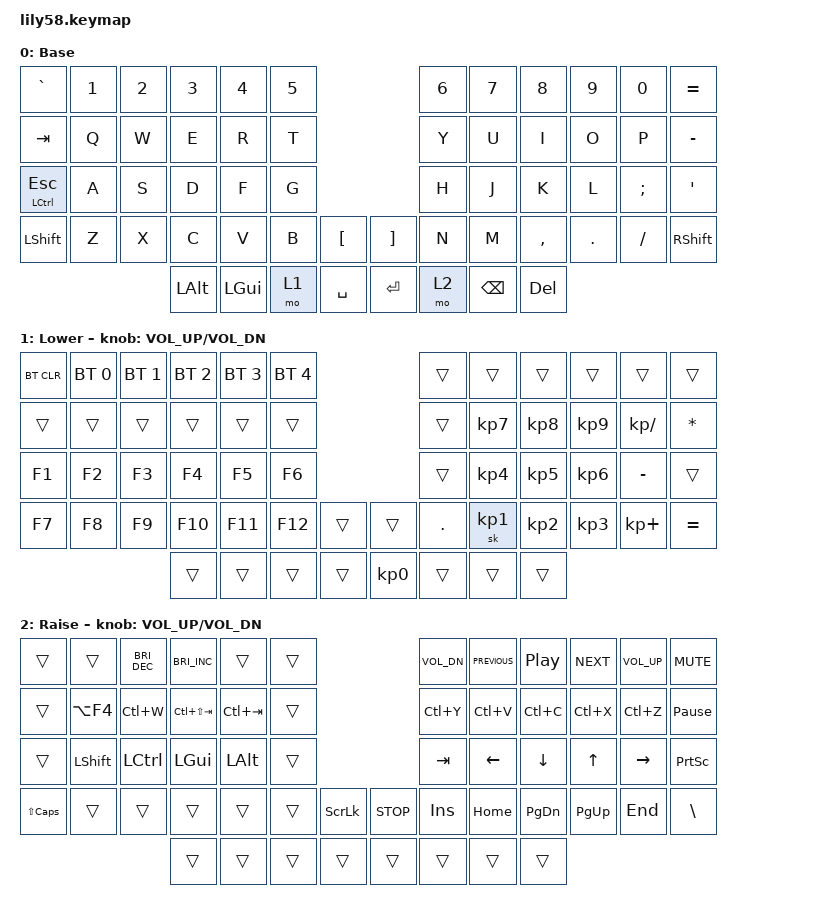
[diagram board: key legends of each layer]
/*
 * Copyright (c) 2020 The ZMK Contributors
 *
 * SPDX-License-Identifier: MIT
 */

#include <behaviors.dtsi>
#include <dt-bindings/zmk/bt.h>
#include <dt-bindings/zmk/keys.h>

/ {
    keymap {
        compatible = "zmk,keymap";

        default_layer {
            // ------------------------------------------------------------------------------------------------------------
            // |  ESC  |  1  |  2  |  3   |  4   |  5   |                   |  6   |  7    |  8    |  9   |   0   |   `   |
            // |  TAB  |  Q  |  W  |  E   |  R   |  T   |                   |  Y   |  U    |  I    |  O   |   P   |   -   |
            // |  CTRL |  A  |  S  |  D   |  F   |  G   |                   |  H   |  J    |  K    |  L   |   ;   |   '   |
            // | SHIFT |  Z  |  X  |  C   |  V   |  B   |   "["  |  |  "]"  |  N   |  M    |  ,    |  .   |   /   | SHIFT |
            //                     | ALT  | GUI  | LOWER|  SPACE |  | ENTER | RAISE| BSPC  | GUI   |

            display-name = "Base";
            bindings = <
&kp GRAVE      &kp N1  &kp N2  &kp N3    &kp N4    &kp N5                         &kp N6  &kp N7    &kp N8     &kp N9   &kp N0    &kp EQUAL
&kp TAB        &kp Q   &kp W   &kp E     &kp R     &kp T                          &kp Y   &kp U     &kp I      &kp O    &kp P     &kp MINUS
&mt LCTRL ESC  &kp A   &kp S   &kp D     &kp F     &kp G                          &kp H   &kp J     &kp K      &kp L    &kp SEMI  &kp SQT
&kp LSHFT      &kp Z   &kp X   &kp C     &kp V     &kp B   &kp LBKT     &kp RBKT  &kp N   &kp M     &kp COMMA  &kp DOT  &kp FSLH  &kp RSHFT
                               &kp LALT  &kp LGUI  &mo 1   &kp SPACE    &kp RET   &mo 2   &kp BSPC  &kp DEL
            >;
        };

        lower_layer {
            // ------------------------------------------------------------------------------------------------------------
            // | BTCLR | BT1 | BT2 |  BT3 |  BT4 |  BT5 |                   |      |       |       |      |       |       |
            // |  F1   |  F2 |  F3 |  F4  |  F5  |  F6  |                   |  F7  |  F8   |  F9   |  F10 |  F11  |  F12  |
            // |   `   |  !  |  @  |  #   |  $   |  %   |                   |  ^   |  &    |  *    |  (   |   )   |   ~   |
            // |       |     |     |      |      |      |        |  |       |      |  _    |  +    |  {   |   }   |  "|"  |
            //                     |      |      |      |        |  |       |      |       |       |

            display-name = "Lower";
            bindings = <
&bt BT_CLR  &bt BT_SEL 0  &bt BT_SEL 1  &bt BT_SEL 2  &bt BT_SEL 3  &bt BT_SEL 4                             &trans   &trans           &trans           &trans           &trans        &trans
&trans      &trans        &trans        &trans        &trans        &trans                                   &trans   &kp KP_NUMBER_7  &kp KP_NUMBER_8  &kp KP_NUMBER_9  &kp KP_SLASH  &kp STAR
&kp F1      &kp F2        &kp F3        &kp F4        &kp F5        &kp F6                                   &trans   &kp KP_NUMBER_4  &kp KP_NUMBER_5  &kp KP_NUMBER_6  &kp MINUS     &trans
&kp F7      &kp F8        &kp F9        &kp F10       &kp F11       &kp F12       &trans    &trans           &kp DOT  &sk KP_NUMBER_1  &kp KP_NUMBER_2  &kp KP_NUMBER_3  &kp KP_PLUS   &kp EQUAL
                                        &trans        &trans        &trans        &trans    &kp KP_NUMBER_0  &trans   &trans           &trans
            >;

            sensor-bindings = <&inc_dec_kp C_VOL_UP C_VOL_DN>;
        };

        raise_layer {
            // ------------------------------------------------------------------------------------------------------------
            // |       |     |     |      |      |      |                   |      |       |       |      |       |       |
            // |   `   |  1  |  2  |  3   |  4   |  5   |                   |  6   |   7   |   8   |  9   |   0   |       |
            // |   F1  |  F2 |  F3 |  F4  |  F5  |  F6  |                   |      |   <-  |   v   |  ^   |  ->   |       |
            // |   F7  |  F8 |  F9 |  F10 |  F11 |  F12 |        |  |       |  +   |   -   |   =   |  [   |   ]   |   \   |
            //                     |      |      |      |        |  |       |      |       |       |

            display-name = "Raise";
            bindings = <
&trans        &trans          &kp C_BRIGHTNESS_DEC  &kp C_BRIGHTNESS_INC  &trans        &trans                                &kp C_VOL_DN  &kp C_PREVIOUS  &kp C_PLAY_PAUSE  &kp C_NEXT  &kp C_VOLUME_UP  &kp C_MUTE
&trans        &kp LA(F4)      &kp LC(W)             &kp LC(LS(TAB))       &kp LC(TAB)   &trans                                &kp LC(Y)     &kp LC(V)       &kp LC(C)         &kp LC(X)   &kp LC(Z)        &kp PAUSE_BREAK
&trans        &kp LEFT_SHIFT  &kp LCTRL             &kp LEFT_GUI          &kp LEFT_ALT  &trans                                &kp TAB       &kp LEFT        &kp DOWN          &kp UP      &kp RIGHT        &kp PRINTSCREEN
&kp LS(CAPS)  &trans          &trans                &trans                &trans        &trans  &kp SCROLLLOCK    &kp C_STOP  &kp INS       &kp HOME        &kp PAGE_DOWN     &kp PG_UP   &kp END          &kp BSLH
                                                    &trans                &trans        &trans  &trans            &trans      &trans        &trans          &trans
            >;

            sensor-bindings = <&inc_dec_kp C_VOL_UP C_VOL_DN>;
        };

        extra_1 { status = "reserved"; };

        extra_2 { status = "reserved"; };

        extra_3 { status = "reserved"; };
    };
};
